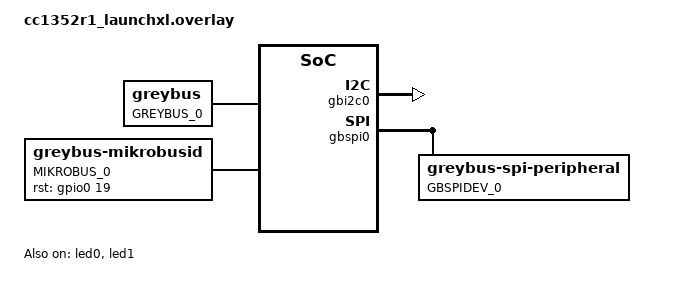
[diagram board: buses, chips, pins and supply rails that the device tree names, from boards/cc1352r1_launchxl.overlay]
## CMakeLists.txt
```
# SPDX-License-Identifier: BSD-3-Clause

cmake_minimum_required(VERSION 3.13.1)
include($ENV{ZEPHYR_BASE}/cmake/app/boilerplate.cmake NO_POLICY_SCOPE)
project(greybus-net)

zephyr_include_directories(../../../../../include)

include(../../../../cmake/greybus.cmake)

if(CONFIG_GREYBUS_CLICK_MANIFEST_BUILTIN)
    mnfs_to_mnfb(
    ../../../../scripts/manifesto/manifests/${CONFIG_GREYBUS_MIKROBUS_CLICK1_NAME}.mnfs
    ${ZEPHYR_BINARY_DIR}/include/generated/greybus_click_fragment1.mnfb
    )

    mnfs_to_mnfb(
    ../../../../scripts/manifesto/manifests/${CONFIG_GREYBUS_MIKROBUS_CLICK2_NAME}.mnfs
    ${ZEPHYR_BINARY_DIR}/include/generated/greybus_click_fragment2.mnfb
    )

    generate_inc_file_for_target(
    app
    ${ZEPHYR_BINARY_DIR}/include/generated/greybus_click_fragment1.mnfb
    ${ZEPHYR_BINARY_DIR}/include/generated/greybus_click_fragment1_mnfb.inc
    )

    generate_inc_file_for_target(
    app
    ${ZEPHYR_BINARY_DIR}/include/generated/greybus_click_fragment2.mnfb
    ${ZEPHYR_BINARY_DIR}/include/generated/greybus_click_fragment2_mnfb.inc
    )
endif()

target_sources(app PRIVATE src/main.c)
```

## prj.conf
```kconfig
CONFIG_HEAP_MEM_POOL_SIZE=16384
CONFIG_NEWLIB_LIBC=y

# Greybus options and dependencies
CONFIG_GREYBUS=y
CONFIG_GREYBUS_CONTROL=y
CONFIG_PTHREAD_IPC=y
CONFIG_PTHREAD_DYNAMIC_STACK=y
CONFIG_THREAD_NAME=y

# Console options
CONFIG_CONSOLE_SUBSYS=y

# Generic networking options
CONFIG_NETWORKING=y
CONFIG_NET_UDP=y
CONFIG_NET_TCP=y
CONFIG_NET_IPV6=y
CONFIG_NET_IPV4=n
CONFIG_NET_SOCKETS=y
CONFIG_NET_SOCKETS_POSIX_NAMES=y
CONFIG_NET_SOCKETS_POLL_MAX=16
CONFIG_POSIX_MAX_FDS=16
CONFIG_NET_CONNECTION_MANAGER=y
CONFIG_NET_MAX_CONN=16

# Service advertisement options
CONFIG_DNS_SD=y
CONFIG_NET_HOSTNAME_ENABLE=y
CONFIG_MDNS_RESPONDER=y
CONFIG_MDNS_RESPONDER_DNS_SD=y

# Kernel options
CONFIG_MAIN_STACK_SIZE=1024
CONFIG_ENTROPY_GENERATOR=y
CONFIG_INIT_STACKS=y

# Logging
CONFIG_NET_LOG=y
CONFIG_LOG=y
CONFIG_NET_STATISTICS=y
CONFIG_PRINTK=y

# Network buffers
CONFIG_NET_PKT_RX_COUNT=16
CONFIG_NET_PKT_TX_COUNT=16
CONFIG_NET_BUF_RX_COUNT=16
CONFIG_NET_BUF_TX_COUNT=16
CONFIG_NET_CONTEXT_NET_PKT_POOL=y

# IP address options
CONFIG_NET_IF_UNICAST_IPV6_ADDR_COUNT=3
CONFIG_NET_IF_MCAST_IPV6_ADDR_COUNT=4
CONFIG_NET_MAX_CONTEXTS=16

# Network shell
CONFIG_NET_SHELL=y
CONFIG_SHELL=y

# Network application options and configuration
CONFIG_NET_CONFIG_SETTINGS=y
CONFIG_NET_CONFIG_NEED_IPV6=y
CONFIG_NET_CONFIG_MY_IPV6_ADDR="2001:db8::1"
CONFIG_NET_CONFIG_PEER_IPV6_ADDR="2001:db8::2"
CONFIG_NET_CONFIG_MY_IPV4_ADDR="192.0.2.1"
CONFIG_NET_CONFIG_PEER_IPV4_ADDR="192.0.2.2"

# Pthread options
CONFIG_MAX_PTHREAD_COUNT=16
```

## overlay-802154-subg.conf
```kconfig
CONFIG_BT=n

# Disable TCP and IPv4 (TCP disabled to avoid heavy traffic)
CONFIG_NET_TCP=y
CONFIG_NET_IPV4=n

CONFIG_NET_CONFIG_NEED_IPV6=y
CONFIG_NET_CONFIG_NEED_IPV4=n
CONFIG_NET_CONFIG_MY_IPV4_ADDR=""
CONFIG_NET_CONFIG_PEER_IPV4_ADDR=""

CONFIG_NET_L2_IEEE802154=y
CONFIG_NET_L2_IEEE802154_SHELL=y
CONFIG_NET_L2_IEEE802154_LOG_LEVEL_INF=y

CONFIG_IEEE802154_CC13XX_CC26XX=n
CONFIG_NET_CONFIG_IEEE802154_DEV_NAME="IEEE802154_1"
CONFIG_NET_CONFIG_IEEE802154_CHANNEL=1
CONFIG_IEEE802154_CC13XX_CC26XX_SUB_GHZ=y
CONFIG_IEEE802154_CC13XX_CC26XX_SUB_GHZ_NUM_RX_BUF=6
```

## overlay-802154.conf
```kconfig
CONFIG_BT=n

CONFIG_NET_TCP=y
CONFIG_NET_IPV4=n

CONFIG_NET_CONFIG_NEED_IPV6=y
CONFIG_NET_CONFIG_NEED_IPV4=n
CONFIG_NET_CONFIG_MY_IPV4_ADDR=""
CONFIG_NET_CONFIG_PEER_IPV4_ADDR=""

CONFIG_NET_L2_IEEE802154=y
CONFIG_NET_L2_IEEE802154_SHELL=y
CONFIG_NET_L2_IEEE802154_LOG_LEVEL_INF=y

CONFIG_IEEE802154_CC13XX_CC26XX=y
CONFIG_NET_CONFIG_IEEE802154_DEV_NAME="IEEE802154_0"
CONFIG_NET_CONFIG_IEEE802154_CHANNEL=26
CONFIG_IEEE802154_CC13XX_CC26XX_SUB_GHZ=n
```

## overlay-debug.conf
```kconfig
CONFIG_NO_OPTIMIZATIONS=y
CONFIG_DEBUG=y

CONFIG_ASSERT=y
# CONFIG_STACK_SENTINEL=y

# CONFIG_STACK_CANARIES=y
```

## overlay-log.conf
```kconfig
CONFIG_LOG=y
CONFIG_LOG_MODE_IMMEDIATE=y
CONFIG_LOG_BACKEND_SHOW_COLOR=n

# CONFIG_LOG_BUFFER_SIZE=1024

CONFIG_NET_LOG=y

CONFIG_NET_SOCKETS_LOG_LEVEL_DBG=y
CONFIG_NET_CONN_LOG_LEVEL_DBG=y
CONFIG_NET_CONTEXT_LOG_LEVEL_DBG=y

CONFIG_NET_TCP_LOG_LEVEL_DBG=y

#CONFIG_NET_IF_LOG_LEVEL_DBG=y
#CONFIG_NET_L2_ETHERNET_LOG_LEVEL_DBG=y
```

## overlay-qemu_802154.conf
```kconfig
CONFIG_BT=n

# Disable TCP and IPv4 (TCP disabled to avoid heavy traffic)
CONFIG_NET_TCP=y
CONFIG_NET_IPV4=n

# Disabling Ethernet
CONFIG_NET_SLIP_TAP=n
# Enable UART PIPE 802.15.4 driver
CONFIG_IEEE802154_UPIPE=y
CONFIG_NET_CONFIG_IEEE802154_DEV_NAME="IEEE802154_UPIPE"

CONFIG_NET_CONFIG_NEED_IPV6=y
CONFIG_NET_CONFIG_NEED_IPV4=n
CONFIG_NET_CONFIG_MY_IPV4_ADDR=""
CONFIG_NET_CONFIG_PEER_IPV4_ADDR=""

CONFIG_NET_L2_IEEE802154=y
CONFIG_NET_L2_IEEE802154_SHELL=y
CONFIG_NET_L2_IEEE802154_LOG_LEVEL_INF=y

CONFIG_NET_CONFIG_IEEE802154_CHANNEL=26
```

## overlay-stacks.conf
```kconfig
CONFIG_NET_MGMT_EVENT_STACK_SIZE=2048
CONFIG_PRIVILEGED_STACK_SIZE=2048
CONFIG_NET_TX_STACK_SIZE=4096
CONFIG_NET_RX_STACK_SIZE=4096
CONFIG_SYSTEM_WORKQUEUE_STACK_SIZE=2048
CONFIG_MAIN_STACK_SIZE=4096
CONFIG_IDLE_STACK_SIZE=2048
CONFIG_ISR_STACK_SIZE=2048
# CONFIG_LOG_PROCESS_THREAD_STACK_SIZE=2048
CONFIG_NET_CONNECTION_MANAGER_STACK_SIZE=2048
CONFIG_SHELL_STACK_SIZE=2048
```

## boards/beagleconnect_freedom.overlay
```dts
/*
 * Copyright (c) 2020 Friedt Professional Engineering Services, Inc
 *
 * SPDX-License-Identifier: BSD-3-Clause
 */
 #include <dt-bindings/greybus/greybus.h>
 #include <dt-bindings/greybus/spi.h>

/ {
	resources {
		compatible = "test,greybus-i2c";
		test-i2c = <&i2c0>; 
	};

	greybus0: greybus0 {
		compatible = "zephyr,greybus";
		label = "GREYBUS_0";
		greybus;
	};

	mikrobus0: mikrobus0 {
		id = <0>;
		compatible = "zephyr,greybus-mikrobusid";
		label = "MIKROBUS_0";
		cs-gpios = <&gpio0 28 GPIO_ACTIVE_HIGH>;
		rst-gpios = <&gpio0 6 GPIO_ACTIVE_HIGH>;
	};

	mikrobus1: mikrobus1 {
		id = <1>;
		compatible = "zephyr,greybus-mikrobusid";
		label = "MIKROBUS_1";
		cs-gpios = <&gpio0 27 GPIO_ACTIVE_HIGH>;
		rst-gpios = <&gpio0 5 GPIO_ACTIVE_HIGH>;
	};
};

&flash0 {
	status = "okay";
};

&greybus0 {
	label = "GREYBUS_0";
	status = "okay";
	/* defaults in effect, so this isn't necessary */
	version-major = <GREYBUS_VERSION_MAJOR>;
	version-minor = <GREYBUS_VERSION_MINOR>;

	gbstring1: gbstring1 {
		label = "GBSTRING_1";
		status = "okay";
		compatible = "zephyr,greybus-string";
		/* NB: string id 0 is invalid */
		id = <1>;
		greybus-string = "Zephyr Project RTOS";
	};

	gbstring2: gbstring2 {
		label = "GBSTRING_2";
		status = "okay";
		compatible = "zephyr,greybus-string";
		id = <2>;
		greybus-string = "Greybus Service Sample Application";
	};

	gbstring3: gbstring3 {
			label = "GBSTRING_3";
			status = "okay";
			compatible = "zephyr,greybus-string";
			id = <3>;
			greybus-string = "opt3001";
	};

	gbstring4: gbstring4 {
			label = "GBSTRING_4";
			status = "okay";
			compatible = "zephyr,greybus-string";
			id = <4>;
			greybus-string = "hdc2010";
	};

	gbinterface0 {
		label = "GBINTERFACE_0";
		status = "okay";
		compatible = "zephyr,greybus-interface";
		vendor-string-id = <&gbstring1>;
		product-string-id = <&gbstring2>;
		greybus-interface;
	};

	gbbundle0 {
		label = "GBBUNDLE_0";
		status = "okay";
		compatible = "zephyr,greybus-bundle";
		greybus-bundle;
		/* Control Bundle 0
		 * Note: control bundle 0 and control cport 0 are optional
		 * Since instance numbers automatically begin at 0, the id
		 * is a mandatory field for bundles and cports.
		 */
		id = <CONTROL_BUNDLE_ID>;
		bundle-class = <BUNDLE_CLASS_CONTROL>;

		gbcontrol0 {
			label = "GBCONTROL_0";
			status = "okay";
			compatible = "zephyr,greybus-control";
			greybus-controller;
			/* Control CPort 0
			 * Note: control bundle 0 and control cport 0 are optional
			 * Since instance numbers automatically begin at 0, the id
			 * is a mandatory field for bundles and cports.
			 */
			id = <CONTROL_CPORT_ID>;
			cport-protocol = <CPORT_PROTOCOL_CONTROL>; 
		};
	};

	gbbundle1 {
		label = "GBBUNDLE_1";
		status = "okay";
		compatible = "zephyr,greybus-bundle";
		greybus-bundle;
		id = <1>;
		bundle-class = <BUNDLE_CLASS_BRIDGED_PHY>;		
				
		gbgpio0 {
			label = "GBGPIO_0";
			status = "okay";
			compatible = "zephyr,greybus-gpio-controller";
			greybus-gpio-controller = <&gpio0>;
			/* GPIO is CPort 1 in this case */
			id = <1>;
			cport-protocol = <CPORT_PROTOCOL_GPIO>;
		};

		gbi2c0 {
			label = "GBI2C_0";
			status = "okay";
			compatible = "zephyr,greybus-i2c-controller";
			greybus-i2c-controller = "I2C_0S";
			/* I2C is CPort 2 in this case */
			id = <2>;
			cport-protocol = <CPORT_PROTOCOL_I2C>;
		};
	};

	gbdevice0 {
		label = "GBDEVICE_0";
		status = "okay";
		compatible = "zephyr,greybus-device";
		id = <1>;
		driver-string-id = <&gbstring3>;
		protocol = <3>;
		addr = <0x44>;
	};

	gbdevice1 {
		label = "GBDEVICE_1";
		status = "okay";
		compatible = "zephyr,greybus-device";
		id = <2>;
		driver-string-id = <&gbstring4>;
		protocol = <3>;
		addr = <0x41>;
	};
	
};
```

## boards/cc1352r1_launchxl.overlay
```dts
/*
 * Copyright (c) 2020 Friedt Professional Engineering Services, Inc
 *
 * SPDX-License-Identifier: BSD-3-Clause
 */
 #include <dt-bindings/greybus/greybus.h>
 #include <dt-bindings/greybus/spi.h>

/ {
	resources {
		compatible = "test,greybus-i2c";
		test-i2c = <&i2c0>; 
	};

	greybus0: greybus0 {
		compatible = "zephyr,greybus";
		label = "GREYBUS_0";
		greybus;
	};

	/*
	 * CONFIG_CC13X2_CC26X2_BOOTLOADER_BACKDOOR_ENABLE = y and
	 * plugging in the click ID board on port 1
	 * results in the launchpad not booting.
	 */
	mikrobus0: mikrobus0 {
		id = <0>;
		compatible = "zephyr,greybus-mikrobusid";
		label = "MIKROBUS_0";
		cs-gpios = <&gpio0 15 GPIO_ACTIVE_HIGH>;
		rst-gpios = <&gpio0 19 GPIO_ACTIVE_HIGH>;
	};

	/*
	 * RST line is shared, thus two clicks cannot be tested on
	 * launchpad
	 */

	/*mikrobus1: mikrobus1 {
		id = <1>;
		compatible = "zephyr,greybus-mikrobusid";
		label = "MIKROBUS_1";
		cs-gpios = <&gpio0 14 GPIO_ACTIVE_HIGH>;
		rst-gpios = <&gpio0 10 GPIO_ACTIVE_HIGH>;
	};*/
};

&flash0 {
	status = "okay";
};

&led0 {
	status = "okay";
};

&led1 {
	status = "okay";
};

&greybus0 {
	label = "GREYBUS_0";
	status = "okay";
	/* defaults in effect, so this isn't necessary */
	version-major = <GREYBUS_VERSION_MAJOR>;
	version-minor = <GREYBUS_VERSION_MINOR>;

	gbstring1: gbstring1 {
		label = "GBSTRING_1";
		status = "okay";
		compatible = "zephyr,greybus-string";
		/* NB: string id 0 is invalid */
		id = <1>;
		greybus-string = "Zephyr Project RTOS";
	};

	gbstring2: gbstring2 {
		label = "GBSTRING_2";
		status = "okay";
		compatible = "zephyr,greybus-string";
		id = <2>;
		greybus-string = "Greybus Service Sample Application";
	};

	gbinterface0 {
		label = "GBINTERFACE_0";
		status = "okay";
		compatible = "zephyr,greybus-interface";
		vendor-string-id = <&gbstring1>;
		product-string-id = <&gbstring2>;
		greybus-interface;
	};

	gbbundle0 {
		label = "GBBUNDLE_0";
		status = "okay";
		compatible = "zephyr,greybus-bundle";
		greybus-bundle;
		/* Control Bundle 0
		 * Note: control bundle 0 and control cport 0 are optional
		 * Since instance numbers automatically begin at 0, the id
		 * is a mandatory field for bundles and cports.
		 */
		id = <CONTROL_BUNDLE_ID>;
		bundle-class = <BUNDLE_CLASS_CONTROL>;

		gbcontrol0 {
			label = "GBCONTROL_0";
			status = "okay";
			compatible = "zephyr,greybus-control";
			greybus-controller;
			/* Control CPort 0
			 * Note: control bundle 0 and control cport 0 are optional
			 * Since instance numbers automatically begin at 0, the id
			 * is a mandatory field for bundles and cports.
			 */
			id = <CONTROL_CPORT_ID>;
			cport-protocol = <CPORT_PROTOCOL_CONTROL>; 
		};
	};

	gbbundle1 {
		label = "GBBUNDLE_1";
		status = "okay";
		compatible = "zephyr,greybus-bundle";
		greybus-bundle;
		id = <1>;
		bundle-class = <BUNDLE_CLASS_BRIDGED_PHY>;		
				
		gbgpio0 {
			label = "GBGPIO_0";
			status = "okay";
			compatible = "zephyr,greybus-gpio-controller";
			greybus-gpio-controller = <&gpio0>;
			/* GPIO is CPort 1 in this case */
			id = <1>;
			cport-protocol = <CPORT_PROTOCOL_GPIO>;
		};

		gbi2c0 {
			label = "GBI2C_0";
			status = "okay";
			compatible = "zephyr,greybus-i2c-controller";
			greybus-i2c-controller = <&i2c0>;
			/* I2C is CPort 2 in this case */
			id = <2>;
			cport-protocol = <CPORT_PROTOCOL_I2C>;
		};

		gbspi0 {
			label = "GBSPI_0";
			status = "okay";
			compatible = "zephyr,greybus-spi-controller";
			greybus-spi-controller = <&spi0>;
			/* SPI is CPort 3 in this case */
			id = <3>;
			cport-protocol = <CPORT_PROTOCOL_SPI>;

			/*
			 * Entries for struct gb_spi_master_config_response
			 */
			bpw-mask = <0xff>;
			min-speed-hz = <2000000>;
			max-speed-hz = <6000000>;			
			mode = <0>;
			flags = <0>;

			gbspidev0 {
				label = "GBSPIDEV_0";
				status = "okay";
				compatible = "zephyr,greybus-spi-peripheral";
				/* cs is used as an array index */				
				cs = <0>;
				
				/*
				 * Entries for struct gb_spi_device_config_response
				 */
				mode = <0>;
				bpw = <8>;
				max-speed-hz = <8000000>;
				device-type = <GB_SPI_SPI_DEV>;
				device-name = "ADXL362";
			};
		};
	};
	
};
```

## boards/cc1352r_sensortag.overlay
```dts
/*
 * Copyright (c) 2020 Friedt Professional Engineering Services, Inc
 *
 * SPDX-License-Identifier: BSD-3-Clause
 */
 #include <dt-bindings/greybus/greybus.h>
 #include <dt-bindings/greybus/spi.h>

/ {
	resources {
		compatible = "test,greybus-i2c";
		test-i2c = <&i2c0>; 
	};

	greybus0: greybus0 {
		compatible = "zephyr,greybus";
		label = "GREYBUS_0";
		greybus;
	};
};

&flash0 {
	status = "okay";
};

&led0 {
	status = "okay";
};

&led1 {
	status = "okay";
};

&led2 {
	status = "okay";
};

&sensor0 {
	status = "okay";
};

&sensor1 {
	status = "okay";
};

&greybus0 {
	label = "GREYBUS_0";
	status = "okay";
	/* defaults in effect, so this isn't necessary */
	version-major = <GREYBUS_VERSION_MAJOR>;
	version-minor = <GREYBUS_VERSION_MINOR>;

	gbstring1: gbstring1 {
		label = "GBSTRING_1";
		status = "okay";
		compatible = "zephyr,greybus-string";
		/* NB: string id 0 is invalid */
		id = <1>;
		greybus-string = "Zephyr Project RTOS";
	};

	gbstring2: gbstring2 {
		label = "GBSTRING_2";
		status = "okay";
		compatible = "zephyr,greybus-string";
		id = <2>;
		greybus-string = "Greybus Service Sample Application";
	};

	gbstring3: gbstring3 {
			label = "GBSTRING_3";
			status = "okay";
			compatible = "zephyr,greybus-string";
			id = <3>;
			greybus-string = "opt3001";
	};

	gbinterface0 {
		label = "GBINTERFACE_0";
		status = "okay";
		compatible = "zephyr,greybus-interface";
		vendor-string-id = <&gbstring1>;
		product-string-id = <&gbstring2>;
		greybus-interface;
	};

	gbbundle0 {
		label = "GBBUNDLE_0";
		status = "okay";
		compatible = "zephyr,greybus-bundle";
		greybus-bundle;
		/* Control Bundle 0
		 * Note: control bundle 0 and control cport 0 are optional
		 * Since instance numbers automatically begin at 0, the id
		 * is a mandatory field for bundles and cports.
		 */
		id = <CONTROL_BUNDLE_ID>;
		bundle-class = <BUNDLE_CLASS_CONTROL>;

		gbcontrol0 {
			label = "GBCONTROL_0";
			status = "okay";
			compatible = "zephyr,greybus-control";
			greybus-controller;
			/* Control CPort 0
			 * Note: control bundle 0 and control cport 0 are optional
			 * Since instance numbers automatically begin at 0, the id
			 * is a mandatory field for bundles and cports.
			 */
			id = <CONTROL_CPORT_ID>;
			cport-protocol = <CPORT_PROTOCOL_CONTROL>; 
		};
	};

	gbbundle1 {
		label = "GBBUNDLE_1";
		status = "okay";
		compatible = "zephyr,greybus-bundle";
		greybus-bundle;
		id = <1>;
		bundle-class = <BUNDLE_CLASS_BRIDGED_PHY>;		
				
		gbgpio0 {
			label = "GBGPIO_0";
			status = "okay";
			compatible = "zephyr,greybus-gpio-controller";
			greybus-gpio-controller = <&gpio0>;
			/* GPIO is CPort 1 in this case */
			id = <1>;
			cport-protocol = <CPORT_PROTOCOL_GPIO>;
		};

		gbi2c0 {
			label = "GBI2C_0";
			status = "okay";
			compatible = "zephyr,greybus-i2c-controller";
			greybus-i2c-controller = <&i2c0>;
			/* I2C is CPort 2 in this case */
			id = <2>;
			cport-protocol = <CPORT_PROTOCOL_I2C>;
		};

		gbspi0 {
			label = "GBSPI_0";
			status = "okay";
			compatible = "zephyr,greybus-spi-controller";
			greybus-spi-controller = <&spi0>;
			/* SPI is CPort 3 in this case */
			id = <3>;
			cport-protocol = <CPORT_PROTOCOL_SPI>;

			/*
			 * Entries for struct gb_spi_master_config_response
			 */
			bpw-mask = <0xff>;
			min-speed-hz = <2000000>;
			max-speed-hz = <6000000>;			
			mode = <0>;
			flags = <0>;

			gbspidev0 {
				label = "GBSPIDEV_0";
				status = "okay";
				compatible = "zephyr,greybus-spi-peripheral";
				/* cs is used as an array index */				
				cs = <0>;
				
				/*
				 * Entries for struct gb_spi_device_config_response
				 */
				mode = <0>;
				bpw = <8>;
				max-speed-hz = <8000000>;
				device-type = <GB_SPI_SPI_DEV>;
				device-name = "ADXL362";
			};
		};
	};

	gbdevice0 {
		label = "GBDEVICE_0";
		status = "okay";
		compatible = "zephyr,greybus-device";
		id = <1>;
		driver-string-id = <&gbstring3>;
		protocol = <3>;
		addr = <0x44>;
	};

	gbmikrobus0 {
		label = "GBMIKROBUS_0";
		status = "okay";
		compatible = "zephyr,greybus-mikrobus";
		pwmstate = <4>;
		intstate = <1>;
		rxstate = <7>;
		txstate = <7>;
		sclstate = <6>;
		sdastate = <6>;
		mosistate = <5>;
		misostate = <5>;
		sckstate = <5>;
		csstate = <5>;
		rststate = <2>;
		anstate = <1>;
	};
};
```

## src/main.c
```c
/*
 * Copyright (c) 2109 Friedt Professional Engineering Services, Inc
 *
 * SPDX-License-Identifier: BSD-3-Clause
 */

#include <stdio.h>
#include <zephyr/zephyr.h>

void main(void)
{
}
```
